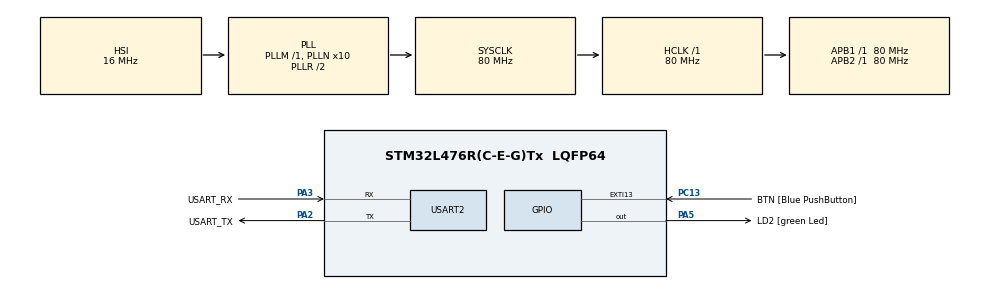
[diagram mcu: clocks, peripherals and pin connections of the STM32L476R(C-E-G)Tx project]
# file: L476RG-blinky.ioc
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Mcu.Family=STM32L4
Mcu.Name=STM32L476R(C-E-G)Tx
Mcu.Package=LQFP64
NVIC.EXTI15_10_IRQn=true\:0\:0\:false\:false\:true\:true\:true\:true
NVIC.PriorityGroup=NVIC_PRIORITYGROUP_4
PA13\ (JTMS-SWDIO).GPIO_Label=TMS
PA13\ (JTMS-SWDIO).Mode=Serial_Wire
PA13\ (JTMS-SWDIO).Signal=SYS_JTMS-SWDIO
PA14\ (JTCK-SWCLK).GPIO_Label=TCK
PA14\ (JTCK-SWCLK).Mode=Serial_Wire
PA14\ (JTCK-SWCLK).Signal=SYS_JTCK-SWCLK
PA2.GPIO_Label=USART_TX
PA2.GPIO_Mode=GPIO_MODE_AF_PP
PA2.GPIO_PuPd=GPIO_NOPULL
PA2.GPIO_Speed=GPIO_SPEED_FREQ_VERY_HIGH
PA2.Mode=Asynchronous
PA2.Signal=USART2_TX
PA3.GPIO_Label=USART_RX
PA3.GPIO_Mode=GPIO_MODE_AF_PP
PA3.GPIO_PuPd=GPIO_NOPULL
PA3.GPIO_Speed=GPIO_SPEED_FREQ_VERY_HIGH
PA3.Mode=Asynchronous
PA3.Signal=USART2_RX
PA5.GPIO_Label=LD2 [green Led]
PA5.GPIO_ModeDefaultOutputPP=GPIO_MODE_OUTPUT_PP
PA5.GPIO_PuPd=GPIO_NOPULL
PA5.GPIO_Speed=GPIO_SPEED_FREQ_LOW
PA5.Signal=GPIO_Output
PB3\ (JTDO-TRACESWO).GPIO_Label=SWO
PB3\ (JTDO-TRACESWO).Signal=SYS_JTDO-SWO
PC13.GPIO_Label=BTN [Blue PushButton]
PC13.GPIO_ModeDefaultEXTI=GPIO_MODE_IT_FALLING
PC13.GPIO_PuPd=GPIO_PULLUP
PC13.Signal=GPXTI13
PC14-OSC32_IN\ (PC14).Mode=LSE-External-Oscillator
PC14-OSC32_IN\ (PC14).Signal=RCC_OSC32_IN
PC15-OSC32_OUT\ (PC15).Mode=LSE-External-Oscillator
PC15-OSC32_OUT\ (PC15).Signal=RCC_OSC32_OUT
PH0-OSC_IN\ (PH0).Signal=RCC_OSC_IN
PH1-OSC_OUT\ (PH1).Signal=RCC_OSC_OUT
ProjectManager.HeapSize=0x200
ProjectManager.StackSize=0x400
ProjectManager.TargetToolchain=CMake
RCC.ADCFreq_Value=64000000
RCC.AHBFreq_Value=80000000
RCC.APB1Freq_Value=80000000
RCC.APB1TimFreq_Value=80000000
RCC.APB2Freq_Value=80000000
RCC.APB2TimFreq_Value=80000000
RCC.CortexFreq_Value=80000000
RCC.HCLKFreq_Value=80000000
RCC.HSE_VALUE=8000000
RCC.HSI_VALUE=16000000
RCC.MSI_VALUE=4000000
RCC.PLLN=10
RCC.PLLSourceVirtual=RCC_PLLSOURCE_HSI
RCC.PREFETCH_ENABLE=1
RCC.SYSCLKFreq_VALUE=80000000
RCC.SYSCLKSource=RCC_SYSCLKSOURCE_PLLCLK
RCC.USBFreq_Value=64000000
RCC.VCOOutputFreq_Value=160000000
USART2.VirtualMode-Asynchronous=VM_ASYNC
board=NUCLEO-L476RG

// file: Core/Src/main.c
/* USER CODE BEGIN Header */
/**
  ******************************************************************************
  * @file           : main.c
  * @brief          : Main program body
  ******************************************************************************
  * @attention
  *
  * Copyright (c) 2026 STMicroelectronics.
  * All rights reserved.
  *
  * This software is licensed under terms that can be found in the LICENSE file
  * in the root directory of this software component.
  * If no LICENSE file comes with this software, it is provided AS-IS.
  *
  ******************************************************************************
  */
/* USER CODE END Header */
#include "main.h"
#include "usart.h"
#include "gpio.h"

/* USER CODE BEGIN Includes */
#include "mycode.h"
/* USER CODE END Includes */

void SystemClock_Config(void);

/* USER CODE BEGIN 0 */
// Send printf to uart1
int _write(int fd, char* ptr, int len) {
  HAL_StatusTypeDef hstatus;

  if (fd == 1 || fd == 2) {
    hstatus = HAL_UART_Transmit(&huart2, (uint8_t *) ptr, len, HAL_MAX_DELAY);
    if (hstatus == HAL_OK)
      return len;
    else
      return -1;
  }
  return -1;
}

void do_stuff(){
  handlers_polling();
}
/* USER CODE END 0 */

int main(void)
{

  /* MCU Configuration--------------------------------------------------------*/

  /* Reset of all peripherals, Initializes the Flash interface and the Systick. */
  HAL_Init();

  /* Configure the system clock */
  SystemClock_Config();

  /* Initialize all configured peripherals */
  MX_GPIO_Init();
  MX_USART2_UART_Init();
  /* USER CODE BEGIN 2 */
  uint32_t blink_time = HAL_GetTick();

  /* USER CODE END 2 */

  /* Infinite loop */
  while (1)
  {

    /* USER CODE BEGIN 3 */
    log_time();
    blink_period(500, &blink_time);
    do_stuff();

  }
  /* USER CODE END 3 */
}

void SystemClock_Config(void)
{
  RCC_OscInitTypeDef RCC_OscInitStruct = {0};
  RCC_ClkInitTypeDef RCC_ClkInitStruct = {0};

  /** Configure the main internal regulator output voltage
  */
  if (HAL_PWREx_ControlVoltageScaling(PWR_REGULATOR_VOLTAGE_SCALE1) != HAL_OK)
  {
    Error_Handler();
  }

  /** Initializes the RCC Oscillators according to the specified parameters
  * in the RCC_OscInitTypeDef structure.
  */
  RCC_OscInitStruct.OscillatorType = RCC_OSCILLATORTYPE_HSI;
  RCC_OscInitStruct.HSIState = RCC_HSI_ON;
  RCC_OscInitStruct.HSICalibrationValue = RCC_HSICALIBRATION_DEFAULT;
  RCC_OscInitStruct.PLL.PLLState = RCC_PLL_ON;
  RCC_OscInitStruct.PLL.PLLSource = RCC_PLLSOURCE_HSI;
  RCC_OscInitStruct.PLL.PLLM = 1;
  RCC_OscInitStruct.PLL.PLLN = 10;
  RCC_OscInitStruct.PLL.PLLP = RCC_PLLP_DIV7;
  RCC_OscInitStruct.PLL.PLLQ = RCC_PLLQ_DIV2;
  RCC_OscInitStruct.PLL.PLLR = RCC_PLLR_DIV2;
  if (HAL_RCC_OscConfig(&RCC_OscInitStruct) != HAL_OK)
  {
    Error_Handler();
  }

  /** Initializes the CPU, AHB and APB buses clocks
  */
  RCC_ClkInitStruct.ClockType = RCC_CLOCKTYPE_HCLK|RCC_CLOCKTYPE_SYSCLK
                              |RCC_CLOCKTYPE_PCLK1|RCC_CLOCKTYPE_PCLK2;
  RCC_ClkInitStruct.SYSCLKSource = RCC_SYSCLKSOURCE_PLLCLK;
  RCC_ClkInitStruct.AHBCLKDivider = RCC_SYSCLK_DIV1;
  RCC_ClkInitStruct.APB1CLKDivider = RCC_HCLK_DIV1;
  RCC_ClkInitStruct.APB2CLKDivider = RCC_HCLK_DIV1;

  if (HAL_RCC_ClockConfig(&RCC_ClkInitStruct, FLASH_LATENCY_4) != HAL_OK)
  {
    Error_Handler();
  }
}

void Error_Handler(void)
{
  __disable_irq();
  while (1)
  {
  }
}
